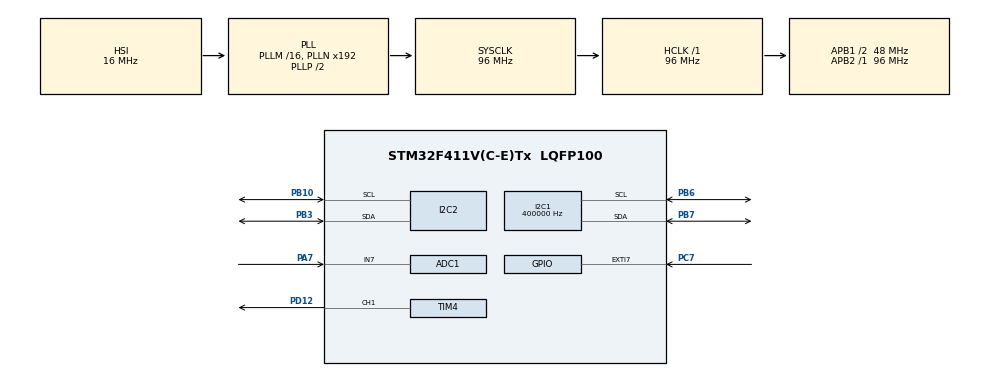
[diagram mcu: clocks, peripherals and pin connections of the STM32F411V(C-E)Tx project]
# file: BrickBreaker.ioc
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ADC1.Channel-5\#ChannelRegularConversion=ADC_CHANNEL_7
ADC1.ClockPrescaler=ADC_CLOCK_SYNC_PCLK_DIV4
ADC1.ContinuousConvMode=ENABLE
ADC1.NbrOfConversionFlag=1
ADC1.Rank-5\#ChannelRegularConversion=1
ADC1.Resolution=ADC_RESOLUTION_8B
ADC1.SamplingTime-5\#ChannelRegularConversion=ADC_SAMPLETIME_56CYCLES
ADC1.master=1
I2C1.ClockSpeed=400000
I2C1.I2C_Mode=I2C_Fast
I2C2.I2C_Mode=I2C_Fast
Mcu.Family=STM32F4
Mcu.Name=STM32F411V(C-E)Tx
Mcu.Package=LQFP100
NVIC.ADC_IRQn=true\:0\:0\:false\:false\:true\:true\:true\:true
NVIC.EXTI9_5_IRQn=true\:0\:0\:false\:false\:true\:true\:true\:true
NVIC.PriorityGroup=NVIC_PRIORITYGROUP_4
NVIC.TIM2_IRQn=true\:0\:0\:false\:false\:true\:true\:true\:true
NVIC.TIM3_IRQn=true\:0\:0\:false\:false\:true\:true\:true\:true
PA7.Signal=ADCx_IN7
PB10.Mode=I2C
PB10.Signal=I2C2_SCL
PB3.Mode=I2C
PB3.Signal=I2C2_SDA
PB6.GPIO_Pu=GPIO_PULLUP
PB6.Mode=I2C
PB6.Signal=I2C1_SCL
PB7.GPIO_Pu=GPIO_PULLUP
PB7.Mode=I2C
PB7.Signal=I2C1_SDA
PC7.GPIO_ModeDefaultEXTI=GPIO_MODE_IT_FALLING
PC7.GPIO_PuPd=GPIO_PULLUP
PC7.Signal=GPXTI7
PD12.Signal=S_TIM4_CH1
ProjectManager.HeapSize=0x200
ProjectManager.StackSize=0x400
ProjectManager.TargetToolchain=STM32CubeIDE
RCC.AHBFreq_Value=96000000
RCC.APB1CLKDivider=RCC_HCLK_DIV2
RCC.APB1Freq_Value=48000000
RCC.APB1TimFreq_Value=96000000
RCC.APB2Freq_Value=96000000
RCC.APB2TimFreq_Value=96000000
RCC.CortexFreq_Value=96000000
RCC.HCLKFreq_Value=96000000
RCC.HSE_VALUE=25000000
RCC.HSI_VALUE=16000000
RCC.LSE_VALUE=32768
RCC.SYSCLKFreq_VALUE=96000000
RCC.SYSCLKSource=RCC_SYSCLKSOURCE_PLLCLK
RCC.VCOOutputFreq_Value=192000000
SH.ADCx_IN7.0=ADC1_IN7,IN7
SH.S_TIM4_CH1.0=TIM4_CH1,PWM Generation1 CH1
TIM2.Period=95999999
TIM3.Prescaler=255
TIM4.AutoReloadPreload=TIM_AUTORELOAD_PRELOAD_ENABLE
TIM4.Channel-PWM\ Generation1\ CH1=TIM_CHANNEL_1
TIM4.Period=16000
TIM4.Pulse-PWM\ Generation1\ CH1=8000
VP_TIM2_VS_ClockSourceINT.Mode=Internal
VP_TIM3_VS_ClockSourceINT.Mode=Internal
VP_TIM4_VS_ClockSourceINT.Mode=Internal
board=custom

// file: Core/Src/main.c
/* USER CODE BEGIN Header */
/**
  ******************************************************************************
  * @file           : main.c
  * @brief          : Main program body
  ******************************************************************************
  * @attention
  *
  * Copyright (c) 2025 STMicroelectronics.
  * All rights reserved.
  *
  * This software is licensed under terms that can be found in the LICENSE file
  * in the root directory of this software component.
  * If no LICENSE file comes with this software, it is provided AS-IS.
  *
  ******************************************************************************
  */
/* USER CODE END Header */
#include "main.h"

/* USER CODE BEGIN Includes */
#include <stdio.h>
#include "ssd1306.h"
#include "fonts.h"
#include "string.h"
#include "brickbreakergui.h"
/* USER CODE END Includes */

ADC_HandleTypeDef hadc1;

I2C_HandleTypeDef hi2c1;
I2C_HandleTypeDef hi2c2;

TIM_HandleTypeDef htim2;
TIM_HandleTypeDef htim3;
TIM_HandleTypeDef htim4;

/* USER CODE BEGIN PV */

// Pozycja paletki (na podstawie ADC)
volatile uint8_t player_pos = 0;

// Pozycja piłki
volatile int16_t ball_x_pos = 0;
volatile int16_t ball_y_pos = 32;

// Składowe prędkości piłki
volatile int8_t ball_x_speed = 0;
volatile int8_t ball_y_speed = -1;

// Cooldown odbić od ścian (ochrona przed zaklinowaniem)
volatile uint8_t time_since_last_x_bounce = 10;
volatile uint8_t time_since_last_y_bounce = 10;

// Cooldown zniszczeń cegiełek (prewencja przed zniszczeniem kilku jednocześnie przed odbiciem)
volatile uint8_t time_since_last_brick_break = 10;

// Wynik
volatile uint16_t score = 0;
volatile float multiplier = 0.5f;

// Flaga wymuszenia odświeżenia drugiego ekranu
volatile uint8_t secondary_screen_changed = 1;

// Ilość żyć
volatile uint8_t lives = LIFE_COUNT;

// Kolejny dźwięk do odtworzenia
volatile uint8_t current_sound = NONE;

// Prewencja przed ciągłym odtwarzaniem dźwięku po przegranej
volatile uint8_t has_already_played_lose_sound = 0;

// Tablica cegiełek
uint8_t bricks[BRICK_COUNT];

/* USER CODE END PV */

void SystemClock_Config(void);
static void MX_GPIO_Init(void);
static void MX_I2C1_Init(void);
static void MX_ADC1_Init(void);
static void MX_I2C2_Init(void);
static void MX_TIM3_Init(void);
static void MX_TIM4_Init(void);
static void MX_TIM2_Init(void);

int main(void)
{

  /* MCU Configuration--------------------------------------------------------*/

  /* Reset of all peripherals, Initializes the Flash interface and the Systick. */
  HAL_Init();

  /* Configure the system clock */
  SystemClock_Config();

  /* USER CODE BEGIN SysInit */
  bricks[0] = 0x00;
  for (uint8_t i=1; i < BRICK_COUNT; i++)
	  bricks[i] = 0xFF;
  /* USER CODE END SysInit */

  /* Initialize all configured peripherals */
  MX_GPIO_Init();
  MX_I2C1_Init();
  MX_ADC1_Init();
  MX_I2C2_Init();
  MX_TIM3_Init();
  MX_TIM4_Init();
  MX_TIM2_Init();
  /* USER CODE BEGIN 2 */
  if (ssd1306_Init(&hi2c1) != 0 || ssd1306_Init(&hi2c2) != 0) {
      Error_Handler();
  }
  HAL_Delay(5);

  blit_main_splash_screen();
  ssd1306_UpdateScreen(&hi2c1);

  blit_secondary_splash_screen();
  ssd1306_UpdateScreen(&hi2c2);

  // Start ADC
  HAL_ADC_Start_IT(&hadc1);

  HAL_Delay(2000);

  ball_x_pos = player_pos;

  HAL_TIM_Base_Start_IT(&htim2);
  HAL_TIM_Base_Start_IT(&htim3);
  HAL_TIM_PWM_Start(&htim4, TIM_CHANNEL_1);
  /* USER CODE END 2 */

  /* Infinite loop */
  while (1)
  {

    /* USER CODE BEGIN 3 */

      // Obliczenie pozycji piłki
	  ball_x_pos += ball_x_speed;
	  ball_y_pos += ball_y_speed;

      // Uniemożliwienie wyjścia piłki poza obrys ekranu
	  if (ball_x_pos < 0)
		  ball_x_pos = 0;

	  if (ball_x_pos > SSD1306_WIDTH)
		  ball_x_pos = SSD1306_WIDTH;

	  if (ball_y_pos < 0)
		  ball_y_pos = 0;

	  if (ball_y_pos > SSD1306_HEIGHT)
		  ball_y_pos = SSD1306_HEIGHT;

      // Inkrementacjia wartości zapewniających cooldown
	  time_since_last_x_bounce++;
	  time_since_last_y_bounce++;
	  time_since_last_brick_break++;

      // Obliczenia
	  calculate_ball_speed();
	  brick_check();
	  kill_check();

	  // Rysowanie ekranu głównego
	  ssd1306_Fill(Black);

	  blit_palette((uint8_t) (player_pos), 12);
	  blit_ball(ball_x_pos, ball_y_pos);

	  blit_bricks(bricks, BRICK_COUNT);

	  if (!lives) {
		  blit_lose_message();
	  }

	  ssd1306_UpdateScreen(&hi2c1);

	  // Rysowanie drugiego ekranu
	  if (secondary_screen_changed) {
		  ssd1306_Fill(Black);

		  blit_score(score);
		  blit_multiplier(multiplier);
		  blit_hearts(lives, LIFE_COUNT);

		  ssd1306_UpdateScreen(&hi2c2);
		  secondary_screen_changed = 0;
	  }

      // Start konwersji ADC
	  HAL_ADC_Start_IT(&hadc1);
	  HAL_Delay(10);

  }
  /* USER CODE END 3 */
}

void SystemClock_Config(void)
{
  RCC_OscInitTypeDef RCC_OscInitStruct = {0};
  RCC_ClkInitTypeDef RCC_ClkInitStruct = {0};

  /** Configure the main internal regulator output voltage
  */
  __HAL_RCC_PWR_CLK_ENABLE();
  __HAL_PWR_VOLTAGESCALING_CONFIG(PWR_REGULATOR_VOLTAGE_SCALE1);

  /** Initializes the RCC Oscillators according to the specified parameters
  * in the RCC_OscInitTypeDef structure.
  */
  RCC_OscInitStruct.OscillatorType = RCC_OSCILLATORTYPE_HSI;
  RCC_OscInitStruct.HSIState = RCC_HSI_ON;
  RCC_OscInitStruct.HSICalibrationValue = RCC_HSICALIBRATION_DEFAULT;
  RCC_OscInitStruct.PLL.PLLState = RCC_PLL_ON;
  RCC_OscInitStruct.PLL.PLLSource = RCC_PLLSOURCE_HSI;
  RCC_OscInitStruct.PLL.PLLM = 16;
  RCC_OscInitStruct.PLL.PLLN = 192;
  RCC_OscInitStruct.PLL.PLLP = RCC_PLLP_DIV2;
  RCC_OscInitStruct.PLL.PLLQ = 4;
  if (HAL_RCC_OscConfig(&RCC_OscInitStruct) != HAL_OK)
  {
    Error_Handler();
  }

  /** Initializes the CPU, AHB and APB buses clocks
  */
  RCC_ClkInitStruct.ClockType = RCC_CLOCKTYPE_HCLK|RCC_CLOCKTYPE_SYSCLK
                              |RCC_CLOCKTYPE_PCLK1|RCC_CLOCKTYPE_PCLK2;
  RCC_ClkInitStruct.SYSCLKSource = RCC_SYSCLKSOURCE_PLLCLK;
  RCC_ClkInitStruct.AHBCLKDivider = RCC_SYSCLK_DIV1;
  RCC_ClkInitStruct.APB1CLKDivider = RCC_HCLK_DIV2;
  RCC_ClkInitStruct.APB2CLKDivider = RCC_HCLK_DIV1;

  if (HAL_RCC_ClockConfig(&RCC_ClkInitStruct, FLASH_LATENCY_3) != HAL_OK)
  {
    Error_Handler();
  }
}

static void MX_ADC1_Init(void)
{

  ADC_ChannelConfTypeDef sConfig = {0};

  /** Configure the global features of the ADC (Clock, Resolution, Data Alignment and number of conversion)
  */
  hadc1.Instance = ADC1;
  hadc1.Init.ClockPrescaler = ADC_CLOCK_SYNC_PCLK_DIV4;
  hadc1.Init.Resolution = ADC_RESOLUTION_8B;
  hadc1.Init.ScanConvMode = DISABLE;
  hadc1.Init.ContinuousConvMode = ENABLE;
  hadc1.Init.DiscontinuousConvMode = DISABLE;
  hadc1.Init.ExternalTrigConvEdge = ADC_EXTERNALTRIGCONVEDGE_NONE;
  hadc1.Init.ExternalTrigConv = ADC_SOFTWARE_START;
  hadc1.Init.DataAlign = ADC_DATAALIGN_RIGHT;
  hadc1.Init.NbrOfConversion = 1;
  hadc1.Init.DMAContinuousRequests = DISABLE;
  hadc1.Init.EOCSelection = ADC_EOC_SINGLE_CONV;
  if (HAL_ADC_Init(&hadc1) != HAL_OK)
  {
    Error_Handler();
  }

  /** Configure for the selected ADC regular channel its corresponding rank in the sequencer and its sample time.
  */
  sConfig.Channel = ADC_CHANNEL_7;
  sConfig.Rank = 1;
  sConfig.SamplingTime = ADC_SAMPLETIME_56CYCLES;
  if (HAL_ADC_ConfigChannel(&hadc1, &sConfig) != HAL_OK)
  {
    Error_Handler();
  }

}

static void MX_I2C1_Init(void)
{

  hi2c1.Instance = I2C1;
  hi2c1.Init.ClockSpeed = 400000;
  hi2c1.Init.DutyCycle = I2C_DUTYCYCLE_2;
  hi2c1.Init.OwnAddress1 = 0;
  hi2c1.Init.AddressingMode = I2C_ADDRESSINGMODE_7BIT;
  hi2c1.Init.DualAddressMode = I2C_DUALADDRESS_DISABLE;
  hi2c1.Init.OwnAddress2 = 0;
  hi2c1.Init.GeneralCallMode = I2C_GENERALCALL_DISABLE;
  hi2c1.Init.NoStretchMode = I2C_NOSTRETCH_DISABLE;
  if (HAL_I2C_Init(&hi2c1) != HAL_OK)
  {
    Error_Handler();
  }

}

static void MX_I2C2_Init(void)
{

  hi2c2.Instance = I2C2;
  hi2c2.Init.ClockSpeed = 400000;
  hi2c2.Init.DutyCycle = I2C_DUTYCYCLE_2;
  hi2c2.Init.OwnAddress1 = 0;
  hi2c2.Init.AddressingMode = I2C_ADDRESSINGMODE_7BIT;
  hi2c2.Init.DualAddressMode = I2C_DUALADDRESS_DISABLE;
  hi2c2.Init.OwnAddress2 = 0;
  hi2c2.Init.GeneralCallMode = I2C_GENERALCALL_DISABLE;
  hi2c2.Init.NoStretchMode = I2C_NOSTRETCH_DISABLE;
  if (HAL_I2C_Init(&hi2c2) != HAL_OK)
  {
    Error_Handler();
  }

}

static void MX_TIM2_Init(void)
{

  TIM_ClockConfigTypeDef sClockSourceConfig = {0};
  TIM_MasterConfigTypeDef sMasterConfig = {0};

  htim2.Instance = TIM2;
  htim2.Init.Prescaler = 0;
  htim2.Init.CounterMode = TIM_COUNTERMODE_UP;
  htim2.Init.Period = 95999999;
  htim2.Init.ClockDivision = TIM_CLOCKDIVISION_DIV1;
  htim2.Init.AutoReloadPreload = TIM_AUTORELOAD_PRELOAD_DISABLE;
  if (HAL_TIM_Base_Init(&htim2) != HAL_OK)
  {
    Error_Handler();
  }
  sClockSourceConfig.ClockSource = TIM_CLOCKSOURCE_INTERNAL;
  if (HAL_TIM_ConfigClockSource(&htim2, &sClockSourceConfig) != HAL_OK)
  {
    Error_Handler();
  }
  sMasterConfig.MasterOutputTrigger = TIM_TRGO_RESET;
  sMasterConfig.MasterSlaveMode = TIM_MASTERSLAVEMODE_DISABLE;
  if (HAL_TIMEx_MasterConfigSynchronization(&htim2, &sMasterConfig) != HAL_OK)
  {
    Error_Handler();
  }

}

static void MX_TIM3_Init(void)
{

  TIM_ClockConfigTypeDef sClockSourceConfig = {0};
  TIM_MasterConfigTypeDef sMasterConfig = {0};

  htim3.Instance = TIM3;
  htim3.Init.Prescaler = 255;
  htim3.Init.CounterMode = TIM_COUNTERMODE_UP;
  htim3.Init.Period = 65535;
  htim3.Init.ClockDivision = TIM_CLOCKDIVISION_DIV1;
  htim3.Init.AutoReloadPreload = TIM_AUTORELOAD_PRELOAD_DISABLE;
  if (HAL_TIM_Base_Init(&htim3) != HAL_OK)
  {
    Error_Handler();
  }
  sClockSourceConfig.ClockSource = TIM_CLOCKSOURCE_INTERNAL;
  if (HAL_TIM_ConfigClockSource(&htim3, &sClockSourceConfig) != HAL_OK)
  {
    Error_Handler();
  }
  sMasterConfig.MasterOutputTrigger = TIM_TRGO_RESET;
  sMasterConfig.MasterSlaveMode = TIM_MASTERSLAVEMODE_DISABLE;
  if (HAL_TIMEx_MasterConfigSynchronization(&htim3, &sMasterConfig) != HAL_OK)
  {
    Error_Handler();
  }

}

static void MX_TIM4_Init(void)
{

  TIM_ClockConfigTypeDef sClockSourceConfig = {0};
  TIM_MasterConfigTypeDef sMasterConfig = {0};
  TIM_OC_InitTypeDef sConfigOC = {0};

  htim4.Instance = TIM4;
  htim4.Init.Prescaler = 0;
  htim4.Init.CounterMode = TIM_COUNTERMODE_UP;
  htim4.Init.Period = 16000;
  htim4.Init.ClockDivision = TIM_CLOCKDIVISION_DIV1;
  htim4.Init.AutoReloadPreload = TIM_AUTORELOAD_PRELOAD_ENABLE;
  if (HAL_TIM_Base_Init(&htim4) != HAL_OK)
  {
    Error_Handler();
  }
  sClockSourceConfig.ClockSource = TIM_CLOCKSOURCE_INTERNAL;
  if (HAL_TIM_ConfigClockSource(&htim4, &sClockSourceConfig) != HAL_OK)
  {
    Error_Handler();
  }
  if (HAL_TIM_PWM_Init(&htim4) != HAL_OK)
  {
    Error_Handler();
  }
  sMasterConfig.MasterOutputTrigger = TIM_TRGO_RESET;
  sMasterConfig.MasterSlaveMode = TIM_MASTERSLAVEMODE_DISABLE;
  if (HAL_TIMEx_MasterConfigSynchronization(&htim4, &sMasterConfig) != HAL_OK)
  {
    Error_Handler();
  }
  sConfigOC.OCMode = TIM_OCMODE_PWM1;
  sConfigOC.Pulse = 8000;
  sConfigOC.OCPolarity = TIM_OCPOLARITY_HIGH;
  sConfigOC.OCFastMode = TIM_OCFAST_DISABLE;
  if (HAL_TIM_PWM_ConfigChannel(&htim4, &sConfigOC, TIM_CHANNEL_1) != HAL_OK)
  {
    Error_Handler();
  }
  HAL_TIM_MspPostInit(&htim4);

}

static void MX_GPIO_Init(void)
{
  GPIO_InitTypeDef GPIO_InitStruct = {0};

  /* GPIO Ports Clock Enable */
  __HAL_RCC_GPIOA_CLK_ENABLE();
  __HAL_RCC_GPIOB_CLK_ENABLE();
  __HAL_RCC_GPIOD_CLK_ENABLE();
  __HAL_RCC_GPIOC_CLK_ENABLE();

  /*Configure GPIO pin : PC7 */
  GPIO_InitStruct.Pin = GPIO_PIN_7;
  GPIO_InitStruct.Mode = GPIO_MODE_IT_FALLING;
  GPIO_InitStruct.Pull = GPIO_PULLUP;
  HAL_GPIO_Init(GPIOC, &GPIO_InitStruct);

  /* EXTI interrupt init*/
  HAL_NVIC_SetPriority(EXTI9_5_IRQn, 0, 0);
  HAL_NVIC_EnableIRQ(EXTI9_5_IRQn);

}

/* USER CODE BEGIN 4 */
void HAL_ADC_ConvCpltCallback(ADC_HandleTypeDef* hadc)
{
    // Read & Update The ADC Result
    player_pos = (uint8_t) (HAL_ADC_GetValue(&hadc1)/2);
}

void calculate_ball_speed() {
	if (!lives)
		return;

	if (((ball_x_pos > SSD1306_WIDTH-4 && ball_x_speed > 0) || (ball_x_pos < 4 && ball_x_speed < 0)) && time_since_last_x_bounce > 5) {
		ball_x_speed = ball_x_speed * (-1);
		time_since_last_x_bounce = 0;
		current_sound = BOUNCE;
	}

	if (((ball_y_pos > SSD1306_HEIGHT-4 && ball_y_speed > 0) || (ball_y_pos < 21 && ball_y_speed < 0 && (ball_x_pos > player_pos-12 && ball_x_pos < player_pos+12))) && time_since_last_y_bounce > 5) {
		ball_y_speed = ball_y_speed * (-1);
		time_since_last_y_bounce = 0;
		current_sound = BOUNCE;

		if (ball_y_pos < 21) {
			ball_x_speed = (uint8_t) ((ball_x_pos - player_pos)/2);
			if (ball_x_speed > 4)
				ball_x_speed = 4;

			if (ball_x_speed < 3)
				ball_y_speed = 2;
			else
				ball_y_speed = 1;

			ball_x_speed = ball_x_speed * multiplier;
			current_sound = BOUNCE;

			if (ball_x_speed == 0) {
				ball_x_speed = 1;
			}
		}
	}
}

void kill_check() {
	if ((ball_y_pos < 17 && !(ball_x_pos > player_pos-16 && ball_x_pos < player_pos+16)) || (ball_y_pos < 10)) {

		if (lives > 0) {
			lives--;
			secondary_screen_changed = 1;
		}

		if (lives > 0) {
			ball_y_pos = 32;
			ball_x_pos = player_pos;
			ball_x_speed = 0;
			ball_y_speed = -1;

			// Odtwórz dźwięk DEATH
			current_sound = DEATH;
		} else {
			ball_x_speed = 0;
			ball_y_speed = 0;

			// Odtwórz dźwięk LOSE
			if (!has_already_played_lose_sound) {
				current_sound = LOSE;
				has_already_played_lose_sound = 1;
			}
		}

	}
}

void brick_check() {

	// Przemiatanie wszystkich rzędów cegiełek
	for (uint8_t brick_row=0; brick_row<BRICK_COUNT; brick_row++) {

		// Sprawdzenie czy rząd zawiera cegiełki
		if (!bricks[brick_row])
			continue;

		// Przemiatanie wszystkich cegiełek w rzędzie
		for (uint8_t brick=0; brick<8; brick++) {

			// Sprawdzenie czy wybrana cegiełka istnieje
			if (!(bricks[brick_row] & (1 << brick)))
				continue;

			// Sprawdzenie czy pozycja X piłki pokrywa się z cegiełką
			if (!(ball_x_pos+2 > brick * BRICK_X_SIZE && ball_x_pos < (brick+1) * BRICK_X_SIZE+2))
				continue;

			// Sprawdzenie czy pozycja Y piłki pokrywa się z cegiełką
			if (!(ball_y_pos-2 < SSD1306_HEIGHT - brick_row * BRICK_Y_SIZE && ball_y_pos+2 > SSD1306_HEIGHT - (brick_row+1) * BRICK_Y_SIZE))
				continue;

			// Sprawdzenie czy piłka jest w stanie zniszczyć cegiełkę (cool-down)
			if (!(time_since_last_brick_break>5 || (ball_y_speed < 0 && time_since_last_brick_break > 0)))
				continue;

			// Usunięcie cegły (XOR z wartością 1 ustawia  0- obecna wartość cegiełki jest równa 1, sprawdzono wyżej)
			bricks[brick_row] = bricks[brick_row] ^ (1<<brick);

			// Zwiększenie wyniku
			score += BRICK_REWARD * multiplier;
			secondary_screen_changed = 1;

			// Reset cool-down
			time_since_last_brick_break = 0;

			// Wybranie dźwięku BRICK do późniejszego zagrania
			current_sound = BRICK;

			// Sprawdzenie, czy gracz wygrał planszę
			win_check();

			// Sprawdzenie czy piłka spada oraz czy może zostać zmuszona do spadania
			if (!(time_since_last_y_bounce > 2 && ball_y_speed > 0))
				continue;

			// Wymuszenie spadania piłki
			time_since_last_y_bounce = 0;
			ball_y_speed = ball_y_speed * (-1);
		}
	}
}

void win_check() {

	// Sweep all brick rows
	for (uint8_t brick_row = 1; brick_row < BRICK_COUNT; brick_row++) {

		// Check if any row has at least one brick- if yes, stop checking for win
		if (bricks[brick_row] != 0x00) {
			return;
		}
	}

	// Rebuild the bricks
	for (uint8_t brick_row = 1; brick_row < BRICK_COUNT; brick_row++) {
		bricks[brick_row] = 0xFF;
	}

	// Increase the score/speed multiplier
	multiplier += 0.5f;

	// Reset the ball position and speed
	ball_x_pos = player_pos;
	ball_y_pos = 32;
	ball_x_speed = 0;
	ball_y_speed = -1;

	// Reward the player
	score += 100;

	// Play the win sound
	current_sound = WIN;

	// Refresh the secondary screen
	secondary_screen_changed = 1;
}

void HAL_TIM_PeriodElapsedCallback(TIM_HandleTypeDef *htim)
{
	// Decrement score each second
	if (htim == &htim2) {
		if (multiplier >= 1 && lives > 0) {
			if (score >= multiplier * TIME_PENALTY)
				score -= multiplier * TIME_PENALTY;
			else
				score = 0;
		}

		secondary_screen_changed = 1;
	}

	// Play the given sound
	if (htim == &htim3) {
		switch (current_sound) {

		case BOUNCE:
			TIM4->ARR = 61184;
			TIM4->CCR1 = 30592;
			TIM4->PSC = 2;
			break;

		case BRICK:
			TIM4->ARR = 54513;
			TIM4->CCR1 = 27257;
			TIM4->PSC = 2;
			break;

		case WIN:
			TIM4->ARR = 48581;
			TIM4->CCR1 = 24291;
			TIM4->PSC = 1;
			break;

		case LOSE:
			TIM4->ARR = 65039;
			TIM4->CCR1 = 32520;
			TIM4->PSC = 17;
			break;

		case DEATH:
			TIM4->ARR = 65305;
			TIM4->CCR1 = 32653;
			TIM4->PSC = 9;
			break;

		default:
			TIM4->ARR = 65535;
			TIM4->CCR1 = 0;
			TIM4->PSC = 0;
		}

		current_sound = NONE;

	}
}

// External interrupt handler (user button)
void HAL_GPIO_EXTI_Callback(uint16_t GPIO_Pin)
{
    if(GPIO_Pin == GPIO_PIN_7) // If The INT Source Is EXTI Line7 (C7 Pin)
    {
    	// Reset values shown on the secondary screen
    	multiplier = 0.5f;
    	lives = LIFE_COUNT;
    	score = 0;
    	secondary_screen_changed = 1;

    	// Reset ball parameters
    	ball_x_pos = player_pos;
		ball_y_pos = 32;
		ball_x_speed = 0;
		ball_y_speed = -1;

		// Reset the bricks
		bricks[0] = 0x00;
		for (uint8_t i=1; i < BRICK_COUNT; i++)
		  bricks[i] = 0xFF;

		// Play a sounds
		current_sound = DEATH;
    }
}
/* USER CODE END 4 */

void Error_Handler(void)
{
  __disable_irq();
  while (1)
  {
  }
}
